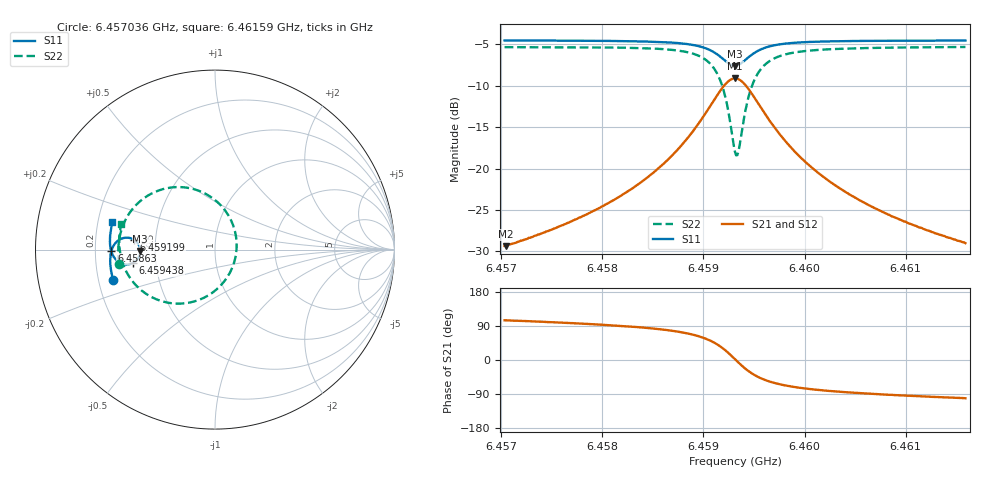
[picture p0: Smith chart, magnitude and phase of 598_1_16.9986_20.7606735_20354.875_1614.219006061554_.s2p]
#  HZ  S  RI  R  50.00
! Rohde & Schwarz Vector Network Analyzer
! Rohde-Schwarz,ZNB20-2Port,1311601062101988,3.16
! Created: UTC 3/20/2024, 11:18:54 PM
! freq[Hz]  re:S11  im:S11  re:S21  im:S21  re:S12  im:S12  re:S22  im:S22
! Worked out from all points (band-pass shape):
!   401 points, 6.457036 GHz to 6.46159 GHz, reference 50 ohm
!   highest |S21| = -9.13 dB at 6.459313 GHz (marker M1); lowest = -29.4 dB at 6.457048 GHz (marker M2)
!   |S21| within 3 dB of the highest: 6.459086 GHz to 6.459541 GHz (455.3 kHz wide, 0.00705 % of centre)
!   lowest |S11| = -7.6 dB at 6.459313 GHz (marker M3), VSWR 2.43, Z = 20.6 - j0.413 ohm
!   |S11| at or under -10 dB: nowhere
!   |S22| runs from -18.4 to -5.3 dB; largest |S21 - S12| = 0.014
!   S11 on the Smith chart (normalised r, x): 6.457036 GHz: 0.26, -0.13; 6.45863 GHz: 0.27, -0.01; 6.459199 GHz: 0.38, +0.05; 6.459438 GHz: 0.37, -0.07; 6.46159 GHz: 0.26, +0.12
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6.4570362e9  -0.568 -0.1677  -0.00875 0.033  -0.00696 0.0327  -0.5339 -0.0793
6.4570476e9  -0.5682 -0.1667  -0.0087 0.0329  -0.00689 0.033  -0.534 -0.0783
6.4577989e9  -0.5814 -0.1007  -0.0053 0.051  -0.00272 0.0504  -0.5385 0.0107
6.4582428e9  -0.5838 -0.0557  0.00139 0.0721  0.00481 0.0707  -0.5286 0.0825
6.4585616e9  -0.5797 -0.0172  0.015 0.0998  0.019 0.0969  -0.5034 0.1561
6.4586299e9  -0.5774 -0.00767  0.0203 0.1083  0.0245 0.1049  -0.4931 0.1763
6.4588234e9  -0.5645 0.0228  0.0475 0.1393  0.0516 0.1343  -0.4423 0.2457
6.4589714e9  -0.5416 0.0491  0.0933 0.17  0.0965 0.1631  -0.3575 0.3102
6.459108e9  -0.4972 0.0663  0.1815 0.1863  0.1824 0.1788  -0.1962 0.3484
6.459199e9  -0.4523 0.0557  0.2723 0.1544  0.2725 0.1484  -0.0278 0.2965
6.4592673e9  -0.4231 0.0232  0.3332 0.0814  0.3354 0.0761  0.0886 0.1648
6.4593129e9  -0.4162 -0.00828  0.3494 0.0126  0.3532 0.00571  0.1206 0.0358
6.459347e9  -0.4202 -0.0322  0.3436 -0.0405  0.3475 -0.0496  0.1086 -0.065
6.4593925e9  -0.436 -0.0586  0.3143 -0.101  0.3165 -0.113  0.0496 -0.1794
6.4594381e9  -0.4584 -0.075  0.2714 -0.1423  0.2707 -0.1558  -0.0372 -0.2552
6.4595291e9  -0.5023 -0.0818  0.1855 -0.1734  0.1792 -0.1853  -0.2087 -0.301
6.4596771e9  -0.5465 -0.0613  0.0967 -0.159  0.0878 -0.1653  -0.3784 -0.2499
6.4598365e9  -0.5681 -0.0336  0.0516 -0.1305  0.0436 -0.1333  -0.4595 -0.1765
6.4600755e9  -0.581 0.00208  0.0222 -0.0984  0.0162 -0.099  -0.5075 -0.0932
6.4604284e9  -0.5854 0.0442  0.00569 -0.0707  0.00159 -0.0701  -0.5292 -0.0113
6.4608382e9  -0.5834 0.0855  -0.00178 -0.0525  -0.00455 -0.0516  -0.5329 0.0548
6.4615895e9  -0.5712 0.1523  -0.00672 -0.0348  -0.00848 -0.034  -0.5213 0.1444
